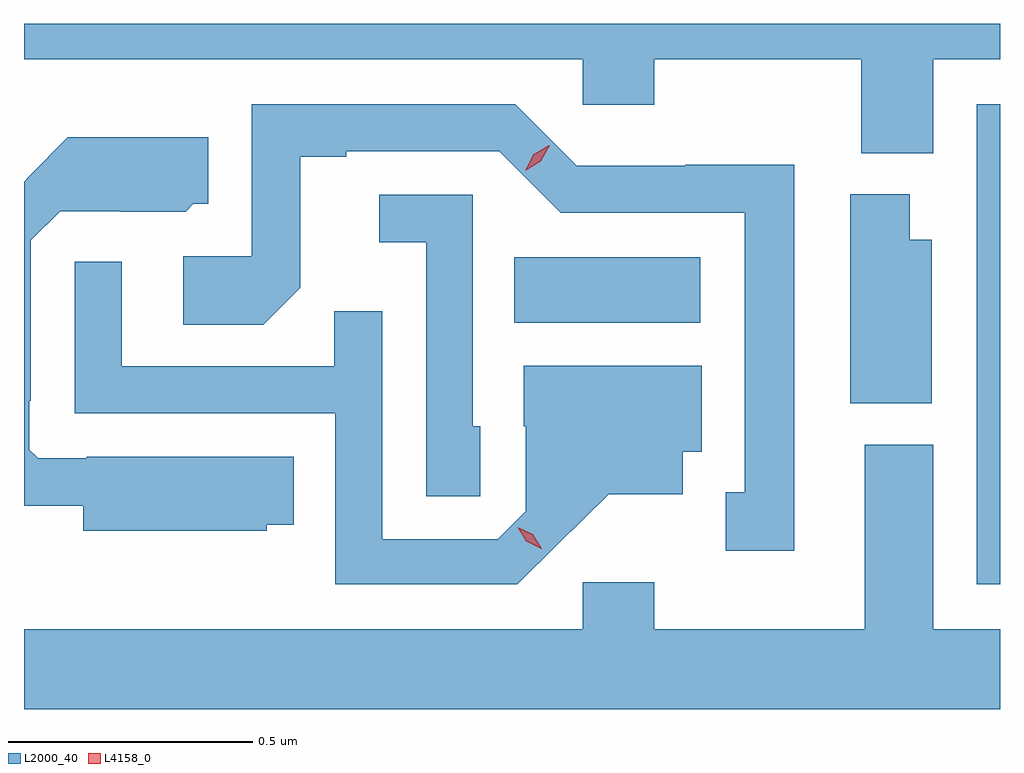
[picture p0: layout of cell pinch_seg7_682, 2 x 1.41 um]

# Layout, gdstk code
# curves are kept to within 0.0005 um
import gdstk
lib = gdstk.Library(unit=1e-6, precision=1e-09)
def R(c, l, rs):  # rectangles x0, y0, x1, y1
    for r in rs: c.add(gdstk.rectangle(r[:2], r[2:], *l))
def P(c, l, *ps):  # polygons
    for p in ps: c.add(gdstk.Polygon(p, *l))
L2000_40 = (2000, 40)
L4158_0 = (4158, 0)

pinch_seg7_682 = lib.new_cell('pinch_seg7_682')
R(pinch_seg7_682, L2000_40, [(132.765,1007.532,132.813,1008.516), (131.818,1008.068,132.199,1008.202)])
P(pinch_seg7_682, L2000_40, [(130.813,1008.608),(131.958,1008.608),(131.958,1008.515),(132.105,1008.515),(132.105,1008.608),(132.529,1008.608),(132.529,1008.416),(132.676,1008.416),(132.676,1008.608),(132.813,1008.608),(132.813,1008.681),(130.813,1008.681)],
  [(132.391,1008.392),(132.168,1008.392),(132.168,1008.39),(131.946,1008.39),(131.82,1008.516),(131.28,1008.516),(131.28,1008.204),(131.139,1008.204),(131.139,1008.064),(131.303,1008.064),(131.379,1008.14),(131.379,1008.408),(131.473,1008.408),(131.473,1008.42),(131.787,1008.42),(131.913,1008.294),(132.29,1008.294),(132.29,1007.721),(132.251,1007.721),(132.251,1007.601),(132.391,1007.601)],
  [(131.31,1007.654),(131.366,1007.654),(131.366,1007.794),(130.942,1007.794),(130.942,1007.79),(130.842,1007.79),(130.824,1007.808),(130.824,1007.908),(130.827,1007.908),(130.827,1008.237),(130.887,1008.297),(131.01,1008.297),(131.01,1008.296),(131.144,1008.296),(131.16,1008.312),(131.191,1008.312),(131.191,1008.448),(130.903,1008.448),(130.813,1008.357),(130.813,1007.693),(130.934,1007.693),(130.934,1007.642),(131.31,1007.642)],
  [(132.673,1008.238),(132.628,1008.238),(132.628,1008.331),(132.506,1008.331),(132.506,1007.903),(132.673,1007.903)],
  [(131.748,1007.856),(131.733,1007.856),(131.733,1008.33),(131.541,1008.33),(131.541,1008.233),(131.637,1008.233),(131.637,1007.713),(131.748,1007.713)],
  [(131.908,1007.615),(132.011,1007.717),(132.163,1007.717),(132.163,1007.804),(132.202,1007.804),(132.202,1007.98),(131.837,1007.98),(131.837,1007.856),(131.841,1007.856),(131.841,1007.682),(131.784,1007.625),(131.547,1007.625),(131.547,1008.092),(131.449,1008.092),(131.449,1007.979),(131.013,1007.979),(131.013,1008.193),(130.917,1008.193),(130.917,1007.883),(131.451,1007.883),(131.451,1007.532),(131.824,1007.532)],
  [(132.813,1007.44),(132.676,1007.44),(132.676,1007.818),(132.536,1007.818),(132.536,1007.44),(132.105,1007.44),(132.105,1007.536),(131.958,1007.536),(131.958,1007.44),(130.813,1007.44),(130.813,1007.276),(132.813,1007.276)])
P(pinch_seg7_682, L4158_0, [(131.84,1008.38),(131.84,1008.38),(131.858,1008.413),(131.889,1008.432),(131.89,1008.432),(131.89,1008.432),(131.872,1008.399),(131.84,1008.38)],
  [(131.873,1007.605),(131.842,1007.62),(131.825,1007.649),(131.825,1007.649),(131.825,1007.649),(131.856,1007.635),(131.874,1007.605),(131.874,1007.605)])

lib.write_gds('pinch_seg7_682.gds')
